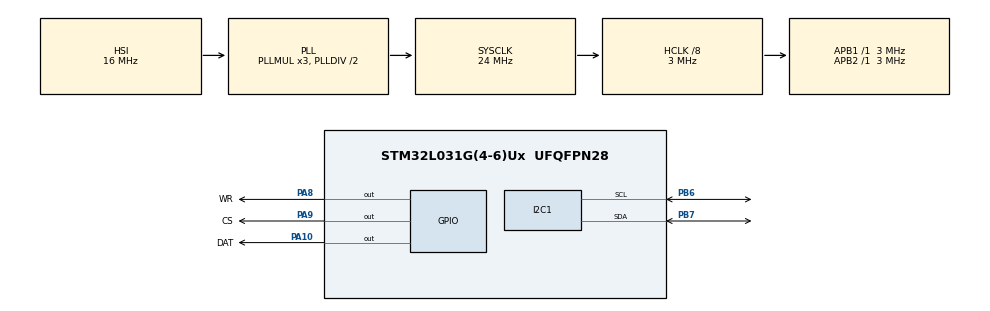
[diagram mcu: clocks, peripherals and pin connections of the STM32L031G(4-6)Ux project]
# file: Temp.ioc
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ADC.LowPowerAutoPowerOff=ENABLE
ADC.LowPowerAutoWait=ENABLE
I2C1.Timing=0x00100B0C
Mcu.Family=STM32L0
Mcu.Name=STM32L031G(4-6)Ux
Mcu.Package=UFQFPN28
NVIC.RTC_IRQn=true\:0\:0\:false\:false\:true\:true\:true\:true
PA0-CK_IN.Mode=SYS_WakeUp0
PA0-CK_IN.Signal=SYS_WKUP1
PA10.GPIO_Label=DAT
PA10.GPIO_Speed=GPIO_SPEED_FREQ_MEDIUM
PA10.Signal=GPIO_Output
PA13.Mode=Serial_Wire
PA13.Signal=SYS_SWDIO
PA14.Mode=Serial_Wire
PA14.Signal=SYS_SWCLK
PA8.GPIO_Label=WR
PA8.GPIO_Speed=GPIO_SPEED_FREQ_MEDIUM
PA8.PinState=GPIO_PIN_SET
PA8.Signal=GPIO_Output
PA9.GPIO_Label=CS
PA9.GPIO_Speed=GPIO_SPEED_FREQ_MEDIUM
PA9.PinState=GPIO_PIN_SET
PA9.Signal=GPIO_Output
PB6.Mode=I2C
PB6.Signal=I2C1_SCL
PB7.Mode=I2C
PB7.Signal=I2C1_SDA
PC14-OSC32_IN.Mode=LSE-External-Clock-Source
PC14-OSC32_IN.Signal=RCC_OSC32_IN
ProjectManager.HeapSize=0x200
ProjectManager.StackSize=0x400
ProjectManager.TargetToolchain=CMake
RCC.AHBCLKDivider=RCC_SYSCLK_DIV8
RCC.AHBFreq_Value=3000000
RCC.APB1Freq_Value=3000000
RCC.APB1TimFreq_Value=3000000
RCC.APB2Freq_Value=3000000
RCC.APB2TimFreq_Value=3000000
RCC.HCLKFreq_Value=3000000
RCC.HSE_VALUE=8000000
RCC.HSI16_VALUE=16000000
RCC.HSI_VALUE=16000000
RCC.MSI_VALUE=2097000
RCC.SYSCLKFreq_VALUE=24000000
RCC.SYSCLKSource=RCC_SYSCLKSOURCE_PLLCLK
RCC.VCOOutputFreq_Value=48000000
RTC.WakeUpClock-WakeUp=RTC_WAKEUPCLOCK_CK_SPRE_16BITS
RTC.WakeUpCounter-WakeUp=9
VP_ADC_Vref_Input.Mode=IN-Vrefint
VP_RTC_VS_RTC_Activate.Mode=RTC_Enabled
VP_RTC_VS_RTC_WakeUp_intern.Mode=WakeUp
board=custom

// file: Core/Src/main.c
/* USER CODE BEGIN Header */
/**
  ******************************************************************************
  * @file           : main.c
  * @brief          : Main program body
  ******************************************************************************
  * @attention
  *
  * Copyright (c) 2026 STMicroelectronics.
  * All rights reserved.
  *
  * This software is licensed under terms that can be found in the LICENSE file
  * in the root directory of this software component.
  * If no LICENSE file comes with this software, it is provided AS-IS.
  *
  ******************************************************************************
  */
/* USER CODE END Header */
#include "main.h"
#include "adc.h"
#include "i2c.h"
#include "rtc.h"
#include "gpio.h"

/* USER CODE BEGIN Includes */
#include "HT1621.h"
#include "SHT31.h"
/* USER CODE END Includes */

/* USER CODE BEGIN PD */
/* STM32L031 出厂 VREFINT 校准参数 */
#define VREFINT_CAL_ADDR       ((uint32_t)0x1FF80078U)
#define VREFINT_CAL_VREF_MV    3000U

/* 12-bit ADC 满量程 */
#define ADC_MAX_VALUE          4095U
/* USER CODE END PD */

void SystemClock_Config(void);

/* USER CODE BEGIN 0 */
float temperature, humidity;
/* USER CODE END 0 */

int main(void)
{

  /* MCU Configuration--------------------------------------------------------*/

  /* Reset of all peripherals, Initializes the Flash interface and the Systick. */
  HAL_Init();

  /* Configure the system clock */
  SystemClock_Config();

  /* Initialize all configured peripherals */
  MX_GPIO_Init();
  MX_ADC_Init();
  MX_I2C1_Init();
  MX_RTC_Init();
  /* USER CODE BEGIN 2 */
	HAL_ADCEx_Calibration_Start(&hadc, ADC_SINGLE_ENDED);
	LCD_Init();
	SHT3x_Init();

	/* 清除遗留的电源唤醒标志 */
	__HAL_PWR_CLEAR_FLAG(PWR_FLAG_WU);

  /* USER CODE END 2 */

  /* Infinite loop */
  /* USER CODE BEGIN WHILE */
	uint32_t time = 0;
	uint32_t pwr_raw, vdda;
	uint16_t cal = *(volatile const uint16_t *)VREFINT_CAL_ADDR;
  while (1)
  {
    /* USER CODE END WHILE */

    /* USER CODE BEGIN 3 */
  	//HAL_Delay(5000);
  	if (time % 120 == 0)
  	{
  		/* 1. 读取 VDDINT 电压 */
  		HAL_ADC_Start(&hadc);
  		HAL_ADC_PollForConversion(&hadc, 20);
  		pwr_raw = HAL_ADC_GetValue(&hadc);
  		vdda = (uint32_t)(((uint64_t)VREFINT_CAL_VREF_MV * cal + pwr_raw / 2U) / pwr_raw);
  		// HAL_ADCEx_DisableVREFINT();
  		if (vdda > 2900){
  			LCD_Display_power(3);
  		}
  		else if (vdda > 2750){
  			LCD_Display_power(2);
  		}
  		else if (vdda > 2500){
  			LCD_Display_power(1);
  		}
  		else{
  			LCD_Display_power(0);
  		}
  	}

  	if (time % 2 == 0)
  	{
  		/* 2. 读取温湿度 */
  		SHT3x_ReadTempAndHumidity(&temperature, &humidity, MEDIUM_RESOLUTION);
  		// 显示温度
  		LCD_Display_value(temperature, HT1621_DISPLAY_TEMPERATURE);
  	}
  	else
  	{
  		// 显示湿度
  		LCD_Display_value(humidity, HT1621_DISPLAY_HUMIDITY);
  	}
  	time++;

  	/* 3. 进入低功耗模式 */
  	HAL_SuspendTick();	// 暂停 HAL 的 SysTick，避免它周期性唤醒 CPU
  	// STOP 模式：低功耗稳压器，使用 WFI 等待中断
  	HAL_PWR_EnterSTOPMode(PWR_LOWPOWERREGULATOR_ON,PWR_STOPENTRY_WFI);
  	SystemClock_Config();	// 重新配置系统时钟，恢复正常运行频率
  	HAL_ResumeTick();	// 恢复 HAL 的 1 ms 时基
  }
  /* USER CODE END 3 */
}

void SystemClock_Config(void)
{
  RCC_OscInitTypeDef RCC_OscInitStruct = {0};
  RCC_ClkInitTypeDef RCC_ClkInitStruct = {0};
  RCC_PeriphCLKInitTypeDef PeriphClkInit = {0};

  /** Configure the main internal regulator output voltage
  */
  __HAL_PWR_VOLTAGESCALING_CONFIG(PWR_REGULATOR_VOLTAGE_SCALE1);

  /** Initializes the RCC Oscillators according to the specified parameters
  * in the RCC_OscInitTypeDef structure.
  */
  RCC_OscInitStruct.OscillatorType = RCC_OSCILLATORTYPE_HSI|RCC_OSCILLATORTYPE_LSI;
  RCC_OscInitStruct.HSIState = RCC_HSI_ON;
  RCC_OscInitStruct.HSICalibrationValue = RCC_HSICALIBRATION_DEFAULT;
  RCC_OscInitStruct.LSIState = RCC_LSI_ON;
  RCC_OscInitStruct.PLL.PLLState = RCC_PLL_ON;
  RCC_OscInitStruct.PLL.PLLSource = RCC_PLLSOURCE_HSI;
  RCC_OscInitStruct.PLL.PLLMUL = RCC_PLLMUL_3;
  RCC_OscInitStruct.PLL.PLLDIV = RCC_PLLDIV_2;
  if (HAL_RCC_OscConfig(&RCC_OscInitStruct) != HAL_OK)
  {
    Error_Handler();
  }

  /** Initializes the CPU, AHB and APB buses clocks
  */
  RCC_ClkInitStruct.ClockType = RCC_CLOCKTYPE_HCLK|RCC_CLOCKTYPE_SYSCLK
                              |RCC_CLOCKTYPE_PCLK1|RCC_CLOCKTYPE_PCLK2;
  RCC_ClkInitStruct.SYSCLKSource = RCC_SYSCLKSOURCE_PLLCLK;
  RCC_ClkInitStruct.AHBCLKDivider = RCC_SYSCLK_DIV8;
  RCC_ClkInitStruct.APB1CLKDivider = RCC_HCLK_DIV1;
  RCC_ClkInitStruct.APB2CLKDivider = RCC_HCLK_DIV1;

  if (HAL_RCC_ClockConfig(&RCC_ClkInitStruct, FLASH_LATENCY_0) != HAL_OK)
  {
    Error_Handler();
  }
  PeriphClkInit.PeriphClockSelection = RCC_PERIPHCLK_I2C1|RCC_PERIPHCLK_RTC;
  PeriphClkInit.I2c1ClockSelection = RCC_I2C1CLKSOURCE_PCLK1;
  PeriphClkInit.RTCClockSelection = RCC_RTCCLKSOURCE_LSI;
  if (HAL_RCCEx_PeriphCLKConfig(&PeriphClkInit) != HAL_OK)
  {
    Error_Handler();
  }
}

void Error_Handler(void)
{
  __disable_irq();
  while (1)
  {
  }
}
